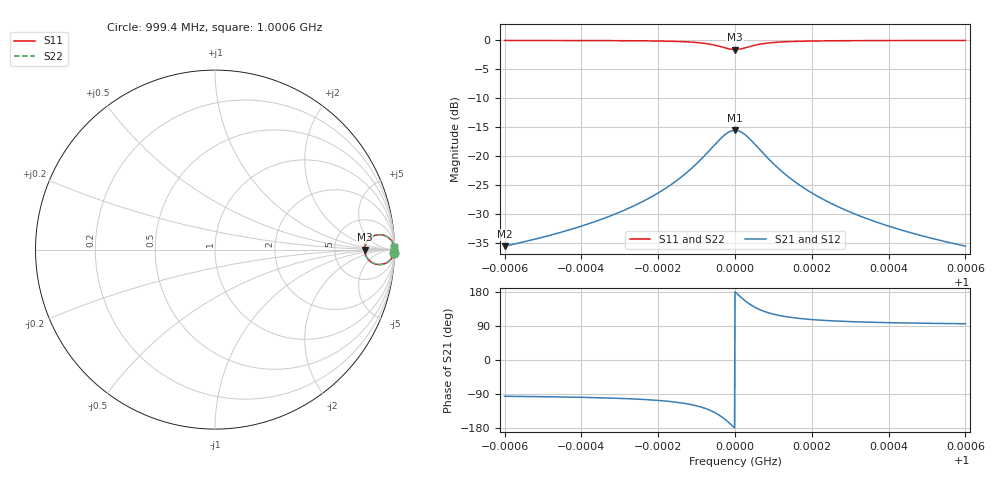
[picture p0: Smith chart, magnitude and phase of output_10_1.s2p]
! File generated for n1 = 10, n2 = 1
! b1 = 0.100000
! b2 = 0.100000
! Q0 = 10000.000000
! f0 = 1000000000.000000
! n = 1001
! rel_span = 10.000000
# Hz S RI R 50
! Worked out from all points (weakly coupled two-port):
!   1001 points, 999.4 MHz to 1.0006 GHz, reference 50 ohm
!   highest |S21| = -15.56 dB at 1 GHz (marker M1); lowest = -35.6 dB at 999.4 MHz (marker M2)
!   lowest |S11| = -1.6 dB at 1 GHz (marker M3), VSWR 11.00, Z = 550 + j0 ohm
!   |S11| at or under -10 dB: nowhere
!   |S22| runs from -1.6 to 0.0 dB; largest |S21 - S12| = 0
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9.994e8  0.9984 -0.0165  -0.00165 -0.0165  -0.00165 -0.0165  0.9984 -0.0165
9.995032e8  0.9976 -0.0198  -0.00239 -0.0198  -0.00239 -0.0198  0.9976 -0.0198
9.996004e8  0.9963 -0.0245  -0.00367 -0.0245  -0.00367 -0.0245  0.9963 -0.0245
9.997108e8  0.9931 -0.0331  -0.00688 -0.0331  -0.00688 -0.0331  0.9931 -0.0331
9.998008e8  0.9861 -0.046  -0.0139 -0.046  -0.0139 -0.046  0.9861 -0.046
9.998404e8  0.9794 -0.0549  -0.0206 -0.0549  -0.0206 -0.0549  0.9794 -0.0549
9.998764e8  0.9682 -0.0655  -0.0318 -0.0655  -0.0318 -0.0655  0.9682 -0.0655
9.99916e8  0.9437 -0.0788  -0.0563 -0.0788  -0.0563 -0.0788  0.9437 -0.0788
9.999484e8  0.9042 -0.0824  -0.0958 -0.0824  -0.0958 -0.0824  0.9042 -0.0824
9.999784e8  0.8525 -0.0531  -0.1475 -0.0531  -0.1475 -0.0531  0.8525 -0.0531
1e9  0.8333 0  -0.1667 0  -0.1667 0  0.8333 0
1.000011e9  0.8386 0.0291  -0.1614 0.0291  -0.1614 0.0291  0.8386 0.0291
1.000023e9  0.8544 0.0553  -0.1456 0.0553  -0.1456 0.0553  0.8544 0.0553
1.000053e9  0.9061 0.0827  -0.0939 0.0827  -0.0939 0.0827  0.9061 0.0827
1.000085e9  0.9447 0.0785  -0.0553 0.0785  -0.0553 0.0785  0.9447 0.0785
1.000125e9  0.9687 0.0651  -0.0313 0.0651  -0.0313 0.0651  0.9687 0.0651
1.000161e9  0.9796 0.0546  -0.0204 0.0546  -0.0204 0.0546  0.9796 0.0546
1.0002e9  0.9863 0.0458  -0.0137 0.0458  -0.0137 0.0458  0.9863 0.0458
1.00029e9  0.9932 0.033  -0.00683 0.033  -0.00683 0.033  0.9932 0.033
1.000401e9  0.9963 0.0244  -0.00365 0.0244  -0.00365 0.0244  0.9963 0.0244
1.000498e9  0.9976 0.0198  -0.00239 0.0198  -0.00239 0.0198  0.9976 0.0198
1.0006e9  0.9983 0.0165  -0.00165 0.0165  -0.00165 0.0165  0.9983 0.0165
